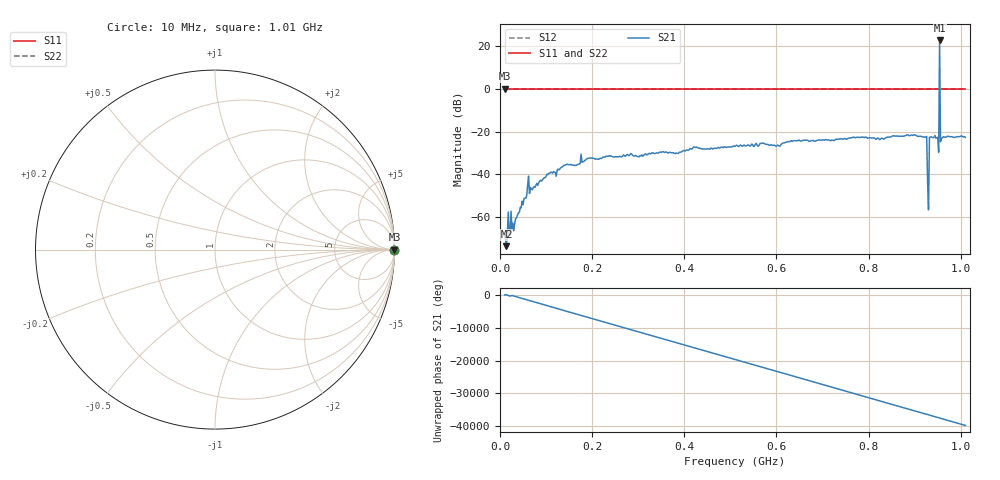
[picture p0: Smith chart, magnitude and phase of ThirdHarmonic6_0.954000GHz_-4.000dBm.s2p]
! 8/16/2025 6:57:08 AM
! C:\ANRITSUVNA\TEMP\TEMP.S2P
! CHANNEL.1
! TR.MEASUREMENT
! RAW.DATA
! RF.CORRECTION.OFF
! AVERAGING.OFF
! IF.BANDWIDTH: 5KHZ
! SWEEPTYPE:  FREQ.SWEEP(Linear)
! Reference Plane Port Info
! PORT:  PORT1  PORT2
! DISTANCE:  0  m  0  m
! TIME:  0  s  0  s
! PHASE.OFFSET:  0  deg.  0  deg.
! LOSS:  0  dB  0  dB
! REF.LOSS:  0  dB  0  dB
! REF.FREQ:  0  Hz  0  Hz
! Power Info
! POWER:  -20  dBm  -20  dBm
! EFF.POWER:  -20  dBm  -20  dBm
! SOURCE.ATTEN:  0  dB  0  dB
! TEST.ATTEN:  0  dB  0  dB
# GHZ S RI R 50.0
! FREQ.GHZ  S11RE  S11IM  S21RE  S21IM  S12RE  S12IM  S22RE  S22IM
!; PortSelection: Port_12
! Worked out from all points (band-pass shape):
!   501 points, 10 MHz to 1.01 GHz, reference 50 ohm
!   highest |S21| = 22.50 dB at 954 MHz (marker M1); lowest = -73.4 dB at 14 MHz (marker M2)
!   |S21| within 3 dB of the highest: 953.8849 MHz to 954.1269 MHz (242 kHz wide, 0.0254 % of centre)
!   lowest |S11| = 0.0 dB at 10 MHz (marker M3)
!   |S11| at or under -10 dB: nowhere
!   |S22| runs from 0.0 to 0.0 dB; largest |S21 - S12| = 12
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0.01  1 0  0.000382 0.000111  1 0  1 0
0.014  1 0  8.69e-05 0.000194  1 0  1 0
0.018  1 0  -0.000501 -0.00124  1 0  1 0
0.02  1 0  -0.000172 0.000382  1 0  1 0
0.03  1 0  0.000257 0.000414  1 0  1 0
0.064  1 0  -0.00267 0.00242  1 0  1 0
0.068  1 0  0.00348 -0.0031  1 0  1 0
0.178  1 0  -0.0188 -0.00493  1 0  1 0
0.344  1 0  0.0311 -0.00442  1 0  1 0
0.51  1 0  -0.0441 0.0104  1 0  1 0
0.678  1 0  -0.0195 -0.0586  1 0  1 0
0.844  1 0  0.0457 0.0588  1 0  1 0
0.922  1 0  -0.0613 0.0429  1 0  1 0
0.926  1 0  0.0746 -0.0191  1 0  1 0
0.932  1 0  -0.0162 0.0721  1 0  1 0
0.936  1 0  0.0377 -0.0656  1 0  1 0
0.948  1 0  -0.0713 -0.00139  1 0  1 0
0.95  1 0  -0.0155 0.0721  1 0  1 0
0.954  1 0  12.32 5.101  1 0  1 0
0.958  1 0  -0.0518 0.0465  1 0  1 0
0.96  1 0  0.0351 0.0619  1 0  1 0
1.01  1 0  -0.0692 -0.025  1 0  1 0
